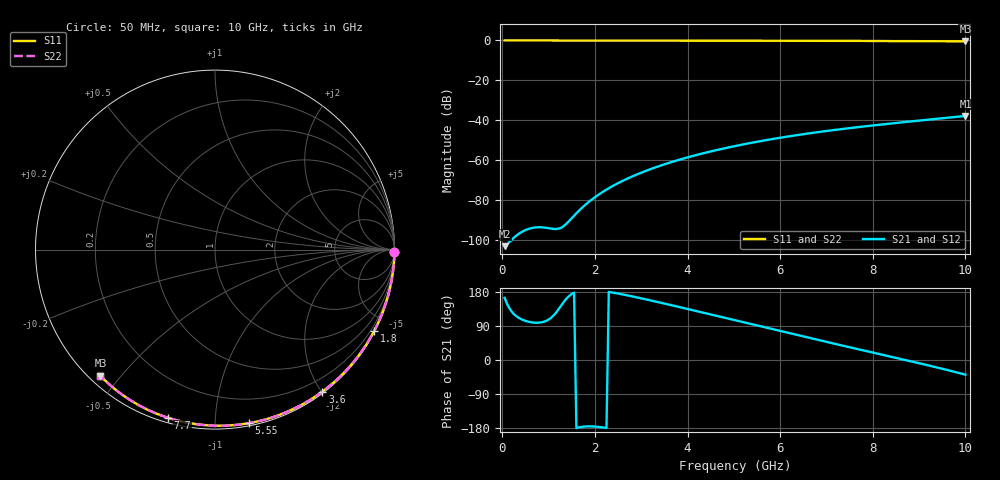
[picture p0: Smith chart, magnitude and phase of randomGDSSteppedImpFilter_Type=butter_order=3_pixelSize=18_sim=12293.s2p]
! freq	dB(S11)	phase(S11)	dB(S12)	phase(S12)
!  dB(S21)	phase(S21)	dB(S22)	phase(S22)
!S-par simulation data
#  GHz  S  DB  R 50
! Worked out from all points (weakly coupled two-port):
!   200 points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, 50 MHz to 10 GHz, reference 50 ohm
!   highest |S21| = -37.93 dB at 10 GHz (marker M1); lowest = -103.3 dB at 50 MHz (marker M2)
!   lowest |S11| = -0.4 dB at 10 GHz (marker M3), VSWR 38.69, Z = 1.55 - j22.1 ohm
!   |S11| at or under -10 dB: nowhere
!   |S22| runs from -0.4 to 0.0 dB; largest |S21 - S12| = 0
!   S11 on the Smith chart (normalised r, x): 50 MHz: open; 1.8 GHz: 0.04, -4.15; 3.6 GHz: 0.02, -2.01; 5.55 GHz: 0.02, -1.21; 7.7 GHz: 0.02, -0.76; 10 GHz: 0.03, -0.44
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0.05  -0.00 -0.8  -103.32 164.0  -103.32 164.0  -0.00 -0.8
0.45  -0.01 -6.9  -95.80 105.5  -95.80 105.5  -0.01 -6.9
0.9  -0.02 -13.7  -93.96 101.2  -93.96 101.2  -0.02 -13.7
1.75  -0.03 -26.3  -83.44 -175.8  -83.44 -175.8  -0.03 -26.3
1.8  -0.03 -27.1  -82.41 -175.3  -82.41 -175.3  -0.03 -27.1
1.9  -0.04 -28.5  -80.49 -175.0  -80.49 -175.0  -0.04 -28.5
1.95  -0.04 -29.3  -79.59 -175.3  -79.59 -175.3  -0.04 -29.3
2.25  -0.04 -33.7  -74.90 -179.3  -74.90 -179.3  -0.04 -33.7
2.55  -0.05 -38.0  -71.07 174.2  -71.07 174.2  -0.05 -38.0
2.95  -0.06 -43.8  -66.88 164.1  -66.88 164.1  -0.06 -43.8
3.4  -0.07 -50.1  -62.99 151.7  -62.99 151.7  -0.07 -50.1
3.6  -0.07 -52.9  -61.47 146.1  -61.47 146.1  -0.07 -52.9
3.9  -0.08 -57.1  -59.38 137.5  -59.38 137.5  -0.08 -57.1
4.3  -0.09 -62.5  -56.89 126.0  -56.89 126.0  -0.09 -62.5
5.05  -0.11 -72.6  -52.92 104.3  -52.92 104.3  -0.11 -72.6
5.55  -0.13 -79.1  -50.67 89.7  -50.67 89.7  -0.13 -79.1
6.1  -0.15 -86.1  -48.49 73.7  -48.49 73.7  -0.15 -86.1
6.7  -0.18 -93.5  -46.41 56.4  -46.41 56.4  -0.18 -93.5
7.7  -0.24 -105.6  -43.48 28.0  -43.48 28.0  -0.24 -105.6
8.35  -0.29 -113.2  -41.82 9.8  -41.82 9.8  -0.29 -113.2
9.15  -0.36 -122.5  -39.89 -12.8  -39.89 -12.8  -0.36 -122.5
10  -0.45 -132.2  -37.93 -38.7  -37.93 -38.7  -0.45 -132.2
